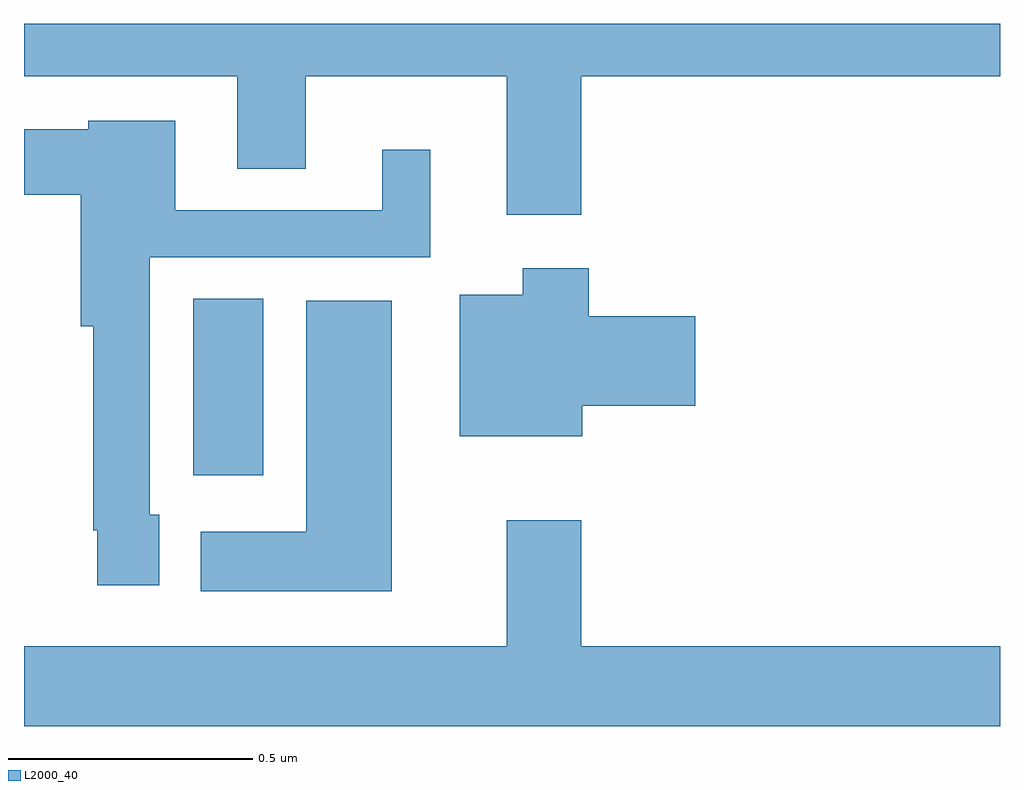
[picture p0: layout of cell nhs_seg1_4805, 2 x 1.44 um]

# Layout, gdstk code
import gdstk
lib = gdstk.Library(unit=1e-6, precision=1e-09)
def R(c, l, rs):  # rectangles x0, y0, x1, y1
    for r in rs: c.add(gdstk.rectangle(r[:2], r[2:], *l))
def P(c, l, *ps):  # polygons
    for p in ps: c.add(gdstk.Polygon(p, *l))
L2000_40 = (2000, 40)

nhs_seg1_4805 = lib.new_cell('nhs_seg1_4805')
R(nhs_seg1_4805, L2000_40, [(171.347,524.274,171.49,524.636)])
P(nhs_seg1_4805, L2000_40, [(173,525.199),(171,525.199),(171,525.092),(171.437,525.092),(171.437,524.902),(171.577,524.902),(171.577,525.092),(171.989,525.092),(171.989,524.808),(172.142,524.808),(172.142,525.092),(173,525.092)],
  [(171.277,524.193),(171.258,524.193),(171.258,524.721),(171.832,524.721),(171.832,524.941),(171.734,524.941),(171.734,524.817),(171.31,524.817),(171.31,525.001),(171.132,525.001),(171.132,524.983),(171,524.983),(171,524.849),(171.116,524.849),(171.116,524.579),(171.142,524.579),(171.142,524.161),(171.15,524.161),(171.15,524.049),(171.277,524.049)],
  [(172.144,524.417),(172.375,524.417),(172.375,524.6),(172.157,524.6),(172.157,524.698),(172.022,524.698),(172.022,524.644),(171.893,524.644),(171.893,524.354),(172.144,524.354)],
  [(171.754,524.632),(171.578,524.632),(171.578,524.158),(171.362,524.158),(171.362,524.036),(171.754,524.036)],
  [(173,523.924),(172.142,523.924),(172.142,524.182),(171.989,524.182),(171.989,523.924),(171,523.924),(171,523.76),(173,523.76)])

lib.write_gds('nhs_seg1_4805.gds')
